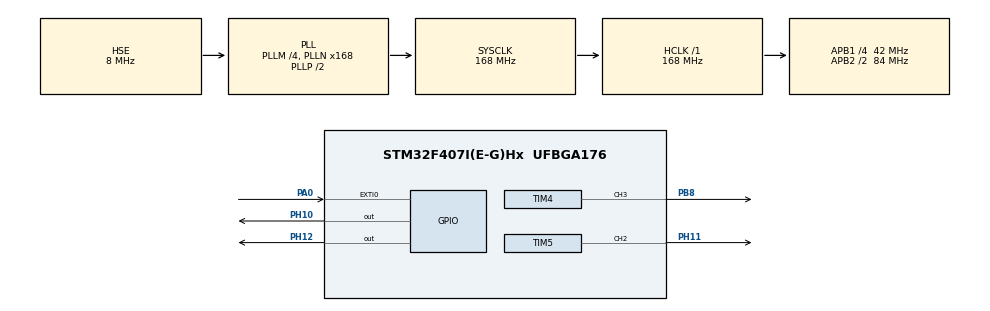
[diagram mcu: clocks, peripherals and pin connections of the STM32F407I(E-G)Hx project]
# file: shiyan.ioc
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Mcu.Family=STM32F4
Mcu.Name=STM32F407I(E-G)Hx
Mcu.Package=UFBGA176
NVIC.EXTI0_IRQn=true\:0\:0\:false\:false\:true\:true\:true\:true
NVIC.PriorityGroup=NVIC_PRIORITYGROUP_4
NVIC.TIM3_IRQn=true\:0\:0\:false\:false\:true\:true\:true\:true
PA0-WKUP.GPIO_ModeDefaultEXTI=GPIO_MODE_IT_RISING
PA0-WKUP.GPIO_PuPd=GPIO_PULLDOWN
PA0-WKUP.Signal=GPXTI0
PA13.Mode=Serial_Wire
PA13.Signal=SYS_JTMS-SWDIO
PA14.Mode=Serial_Wire
PA14.Signal=SYS_JTCK-SWCLK
PB8.Signal=S_TIM4_CH3
PH0-OSC_IN.Mode=HSE-External-Oscillator
PH0-OSC_IN.Signal=RCC_OSC_IN
PH1-OSC_OUT.Mode=HSE-External-Oscillator
PH1-OSC_OUT.Signal=RCC_OSC_OUT
PH10.PinState=GPIO_PIN_SET
PH10.Signal=GPIO_Output
PH11.Signal=S_TIM5_CH2
PH12.PinState=GPIO_PIN_SET
PH12.Signal=GPIO_Output
ProjectManager.HeapSize=0x200
ProjectManager.StackSize=0x400
ProjectManager.TargetToolchain=CMake
RCC.48MHZClocksFreq_Value=84000000
RCC.AHBFreq_Value=168000000
RCC.APB1CLKDivider=RCC_HCLK_DIV4
RCC.APB1Freq_Value=42000000
RCC.APB1TimFreq_Value=84000000
RCC.APB2CLKDivider=RCC_HCLK_DIV2
RCC.APB2Freq_Value=84000000
RCC.APB2TimFreq_Value=168000000
RCC.CortexFreq_Value=168000000
RCC.HCLKFreq_Value=168000000
RCC.HSE_VALUE=8000000
RCC.HSI_VALUE=16000000
RCC.LSE_VALUE=32768
RCC.PLLM=4
RCC.PLLN=168
RCC.PLLSourceVirtual=RCC_PLLSOURCE_HSE
RCC.SYSCLKFreq_VALUE=168000000
RCC.SYSCLKSource=RCC_SYSCLKSOURCE_PLLCLK
RCC.VCOOutputFreq_Value=336000000
SH.S_TIM4_CH3.0=TIM4_CH3,PWM Generation3 CH3
SH.S_TIM5_CH2.0=TIM5_CH2,PWM Generation2 CH2
TIM3.Period=4999
TIM3.Prescaler=16799
TIM4.Channel-PWM\ Generation3\ CH3=TIM_CHANNEL_3
TIM4.Period=250-1
TIM4.Prescaler=84-1
TIM5.Channel-PWM\ Generation2\ CH2=TIM_CHANNEL_2
TIM5.Period=250-1
TIM5.Prescaler=84-1
TIM5.Pulse-PWM\ Generation2\ CH2=125
VP_TIM3_VS_ClockSourceINT.Mode=Internal
VP_TIM4_VS_ClockSourceINT.Mode=Internal
VP_TIM5_VS_ClockSourceINT.Mode=Internal
board=custom

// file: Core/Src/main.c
/* USER CODE BEGIN Header */
/**
  ******************************************************************************
  * @file           : main.c
  * @brief          : Main program body
  ******************************************************************************
  * @attention
  *
  * Copyright (c) 2026 STMicroelectronics.
  * All rights reserved.
  *
  * This software is licensed under terms that can be found in the LICENSE file
  * in the root directory of this software component.
  * If no LICENSE file comes with this software, it is provided AS-IS.
  *
  ******************************************************************************
  */
/* USER CODE END Header */
#include "main.h"

TIM_HandleTypeDef htim3;
TIM_HandleTypeDef htim4;
TIM_HandleTypeDef htim5;

/* USER CODE BEGIN PV */
static uint16_t pwmVal = 0;
static uint8_t  dir = 1;
/* USER CODE END PV */

void SystemClock_Config(void);
static void MX_GPIO_Init(void);
static void MX_TIM3_Init(void);
static void MX_TIM4_Init(void);
static void MX_TIM5_Init(void);

int main(void)
{

  /* MCU Configuration--------------------------------------------------------*/

  /* Reset of all peripherals, Initializes the Flash interface and the Systick. */
  HAL_Init();

  /* Configure the system clock */
  SystemClock_Config();

  /* Initialize all configured peripherals */
  MX_GPIO_Init();
  MX_TIM3_Init();
  MX_TIM4_Init();
  MX_TIM5_Init();
  /* USER CODE BEGIN 2 */
HAL_TIM_PWM_Start(&htim5, TIM_CHANNEL_2);
  /* USER CODE END 2 */

  /* Infinite loop */
  /* USER CODE BEGIN WHILE */
  while (1)
  {
        /* USER CODE BEGIN 3 */
    HAL_Delay(5);

    if(dir == 1){
        pwmVal++;
    }else{
        pwmVal--;
    }

    if(pwmVal >= 250){
        pwmVal = 250;
        dir = 0;
    }else if(pwmVal == 0){
        dir = 1;
    }

    __HAL_TIM_SET_COMPARE(&htim5, TIM_CHANNEL_2, pwmVal);
    /* USER CODE END 3 */

    }

    // 动态改变 PWM 占空比
    __HAL_TIM_SET_COMPARE(&htim5, TIM_CHANNEL_2, pwmVal);

  }
 // {HAL_GPIO_WritePin(GPIOH, GPIO_PIN_11, GPIO_PIN_SET);
  //HAL_Delay(1000);
  //HAL_GPIO_WritePin(GPIOH, GPIO_PIN_11, GPIO_PIN_RESET);
  //HAL_Delay(1000);
    /* USER CODE END WHILE */

void SystemClock_Config(void)
{
  RCC_OscInitTypeDef RCC_OscInitStruct = {0};
  RCC_ClkInitTypeDef RCC_ClkInitStruct = {0};

  /** Configure the main internal regulator output voltage
  */
  __HAL_RCC_PWR_CLK_ENABLE();
  __HAL_PWR_VOLTAGESCALING_CONFIG(PWR_REGULATOR_VOLTAGE_SCALE1);

  /** Initializes the RCC Oscillators according to the specified parameters
  * in the RCC_OscInitTypeDef structure.
  */
  RCC_OscInitStruct.OscillatorType = RCC_OSCILLATORTYPE_HSE;
  RCC_OscInitStruct.HSEState = RCC_HSE_ON;
  RCC_OscInitStruct.PLL.PLLState = RCC_PLL_ON;
  RCC_OscInitStruct.PLL.PLLSource = RCC_PLLSOURCE_HSE;
  RCC_OscInitStruct.PLL.PLLM = 4;
  RCC_OscInitStruct.PLL.PLLN = 168;
  RCC_OscInitStruct.PLL.PLLP = RCC_PLLP_DIV2;
  RCC_OscInitStruct.PLL.PLLQ = 4;
  if (HAL_RCC_OscConfig(&RCC_OscInitStruct) != HAL_OK)
  {
    Error_Handler();
  }

  /** Initializes the CPU, AHB and APB buses clocks
  */
  RCC_ClkInitStruct.ClockType = RCC_CLOCKTYPE_HCLK|RCC_CLOCKTYPE_SYSCLK
                              |RCC_CLOCKTYPE_PCLK1|RCC_CLOCKTYPE_PCLK2;
  RCC_ClkInitStruct.SYSCLKSource = RCC_SYSCLKSOURCE_PLLCLK;
  RCC_ClkInitStruct.AHBCLKDivider = RCC_SYSCLK_DIV1;
  RCC_ClkInitStruct.APB1CLKDivider = RCC_HCLK_DIV4;
  RCC_ClkInitStruct.APB2CLKDivider = RCC_HCLK_DIV2;

  if (HAL_RCC_ClockConfig(&RCC_ClkInitStruct, FLASH_LATENCY_5) != HAL_OK)
  {
    Error_Handler();
  }
}

static void MX_TIM3_Init(void)
{

  TIM_ClockConfigTypeDef sClockSourceConfig = {0};
  TIM_MasterConfigTypeDef sMasterConfig = {0};

  htim3.Instance = TIM3;
  htim3.Init.Prescaler = 16799;
  htim3.Init.CounterMode = TIM_COUNTERMODE_UP;
  htim3.Init.Period = 4999;
  htim3.Init.ClockDivision = TIM_CLOCKDIVISION_DIV1;
  htim3.Init.AutoReloadPreload = TIM_AUTORELOAD_PRELOAD_DISABLE;
  if (HAL_TIM_Base_Init(&htim3) != HAL_OK)
  {
    Error_Handler();
  }
  sClockSourceConfig.ClockSource = TIM_CLOCKSOURCE_INTERNAL;
  if (HAL_TIM_ConfigClockSource(&htim3, &sClockSourceConfig) != HAL_OK)
  {
    Error_Handler();
  }
  sMasterConfig.MasterOutputTrigger = TIM_TRGO_RESET;
  sMasterConfig.MasterSlaveMode = TIM_MASTERSLAVEMODE_DISABLE;
  if (HAL_TIMEx_MasterConfigSynchronization(&htim3, &sMasterConfig) != HAL_OK)
  {
    Error_Handler();
  }

}

static void MX_TIM4_Init(void)
{

  TIM_ClockConfigTypeDef sClockSourceConfig = {0};
  TIM_MasterConfigTypeDef sMasterConfig = {0};
  TIM_OC_InitTypeDef sConfigOC = {0};

  htim4.Instance = TIM4;
  htim4.Init.Prescaler = 84-1;
  htim4.Init.CounterMode = TIM_COUNTERMODE_UP;
  htim4.Init.Period = 250-1;
  htim4.Init.ClockDivision = TIM_CLOCKDIVISION_DIV1;
  htim4.Init.AutoReloadPreload = TIM_AUTORELOAD_PRELOAD_DISABLE;
  if (HAL_TIM_Base_Init(&htim4) != HAL_OK)
  {
    Error_Handler();
  }
  sClockSourceConfig.ClockSource = TIM_CLOCKSOURCE_INTERNAL;
  if (HAL_TIM_ConfigClockSource(&htim4, &sClockSourceConfig) != HAL_OK)
  {
    Error_Handler();
  }
  if (HAL_TIM_PWM_Init(&htim4) != HAL_OK)
  {
    Error_Handler();
  }
  sMasterConfig.MasterOutputTrigger = TIM_TRGO_RESET;
  sMasterConfig.MasterSlaveMode = TIM_MASTERSLAVEMODE_DISABLE;
  if (HAL_TIMEx_MasterConfigSynchronization(&htim4, &sMasterConfig) != HAL_OK)
  {
    Error_Handler();
  }
  sConfigOC.OCMode = TIM_OCMODE_PWM1;
  sConfigOC.Pulse = 0;
  sConfigOC.OCPolarity = TIM_OCPOLARITY_HIGH;
  sConfigOC.OCFastMode = TIM_OCFAST_DISABLE;
  if (HAL_TIM_PWM_ConfigChannel(&htim4, &sConfigOC, TIM_CHANNEL_3) != HAL_OK)
  {
    Error_Handler();
  }
  HAL_TIM_MspPostInit(&htim4);

}

static void MX_TIM5_Init(void)
{

  TIM_ClockConfigTypeDef sClockSourceConfig = {0};
  TIM_MasterConfigTypeDef sMasterConfig = {0};
  TIM_OC_InitTypeDef sConfigOC = {0};

  htim5.Instance = TIM5;
  htim5.Init.Prescaler = 84-1;
  htim5.Init.CounterMode = TIM_COUNTERMODE_UP;
  htim5.Init.Period = 250-1;
  htim5.Init.ClockDivision = TIM_CLOCKDIVISION_DIV1;
  htim5.Init.AutoReloadPreload = TIM_AUTORELOAD_PRELOAD_DISABLE;
  if (HAL_TIM_Base_Init(&htim5) != HAL_OK)
  {
    Error_Handler();
  }
  sClockSourceConfig.ClockSource = TIM_CLOCKSOURCE_INTERNAL;
  if (HAL_TIM_ConfigClockSource(&htim5, &sClockSourceConfig) != HAL_OK)
  {
    Error_Handler();
  }
  if (HAL_TIM_PWM_Init(&htim5) != HAL_OK)
  {
    Error_Handler();
  }
  sMasterConfig.MasterOutputTrigger = TIM_TRGO_RESET;
  sMasterConfig.MasterSlaveMode = TIM_MASTERSLAVEMODE_DISABLE;
  if (HAL_TIMEx_MasterConfigSynchronization(&htim5, &sMasterConfig) != HAL_OK)
  {
    Error_Handler();
  }
  sConfigOC.OCMode = TIM_OCMODE_PWM1;
  sConfigOC.Pulse = 125;
  sConfigOC.OCPolarity = TIM_OCPOLARITY_HIGH;
  sConfigOC.OCFastMode = TIM_OCFAST_DISABLE;
  if (HAL_TIM_PWM_ConfigChannel(&htim5, &sConfigOC, TIM_CHANNEL_2) != HAL_OK)
  {
    Error_Handler();
  }
  HAL_TIM_MspPostInit(&htim5);

}

static void MX_GPIO_Init(void)
{
  GPIO_InitTypeDef GPIO_InitStruct = {0};

  /* GPIO Ports Clock Enable */
  __HAL_RCC_GPIOB_CLK_ENABLE();
  __HAL_RCC_GPIOA_CLK_ENABLE();
  __HAL_RCC_GPIOH_CLK_ENABLE();

  /*Configure GPIO pin Output Level */
  HAL_GPIO_WritePin(GPIOH, GPIO_PIN_12|GPIO_PIN_10, GPIO_PIN_SET);

  /*Configure GPIO pins : PH12 PH10 */
  GPIO_InitStruct.Pin = GPIO_PIN_12|GPIO_PIN_10;
  GPIO_InitStruct.Mode = GPIO_MODE_OUTPUT_PP;
  GPIO_InitStruct.Pull = GPIO_NOPULL;
  GPIO_InitStruct.Speed = GPIO_SPEED_FREQ_LOW;
  HAL_GPIO_Init(GPIOH, &GPIO_InitStruct);

  /*Configure GPIO pin : PA0 */
  GPIO_InitStruct.Pin = GPIO_PIN_0;
  GPIO_InitStruct.Mode = GPIO_MODE_IT_RISING;
  GPIO_InitStruct.Pull = GPIO_PULLDOWN;
  HAL_GPIO_Init(GPIOA, &GPIO_InitStruct);

  /* EXTI interrupt init*/
  HAL_NVIC_SetPriority(EXTI0_IRQn, 0, 0);
  HAL_NVIC_EnableIRQ(EXTI0_IRQn);

}

/* USER CODE BEGIN 4 */
void HAL_TIM_PeriodElapsedCallback(TIM_HandleTypeDef *htim)
{
  /* USER CODE BEGIN TIM3_Callback 0 */

  /* USER CODE END TIM3_Callback 0 */
  // HAL_GPIO_TogglePin(GPIOH, GPIO_PIN_10);
  /* USER CODE BEGIN TIM3_Callback 1 */

  /* USER CODE END TIM3_Callback 1 */
}
/* USER CODE END 4 */

void Error_Handler(void)
{
  __disable_irq();
  while (1)
  {
  }
}
